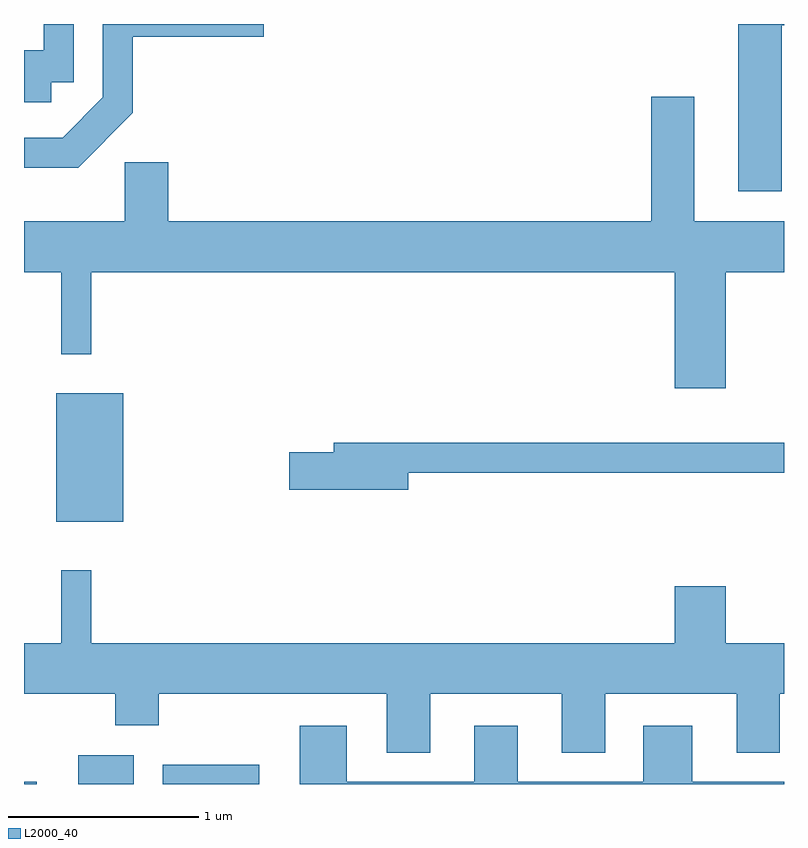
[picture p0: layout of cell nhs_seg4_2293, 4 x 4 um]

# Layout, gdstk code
import gdstk
lib = gdstk.Library(unit=1e-6, precision=1e-09)
def R(c, l, rs):  # rectangles x0, y0, x1, y1
    for r in rs: c.add(gdstk.rectangle(r[:2], r[2:], *l))
def P(c, l, *ps):  # polygons
    for p in ps: c.add(gdstk.Polygon(p, *l))
L2000_40 = (2000, 40)

nhs_seg4_2293 = lib.new_cell('nhs_seg4_2293')
R(nhs_seg4_2293, L2000_40, [(251.611,1351.982,251.679,1351.993), (251.896,1351.982,252.189,1352.134), (252.341,1351.982,252.848,1352.084), (251.781,1353.361,252.134,1354.039)])
P(nhs_seg4_2293, L2000_40, [(251.754,1355.676),(251.874,1355.676),(251.874,1355.982),(251.716,1355.982),(251.716,1355.844),(251.611,1355.844),(251.611,1355.571),(251.754,1355.571)],
  [(255.599,1355.976),(255.611,1355.976),(255.611,1355.982),(255.371,1355.982),(255.371,1355.101),(255.599,1355.101)],
  [(252.184,1355.514),(252.184,1355.916),(252.874,1355.916),(252.874,1355.982),(252.026,1355.982),(252.026,1355.597),(251.814,1355.384),(251.611,1355.384),(251.611,1355.226),(251.897,1355.226)],
  [(255.304,1354.676),(255.611,1354.676),(255.611,1354.944),(255.139,1354.944),(255.139,1355.599),(254.911,1355.599),(254.911,1354.944),(252.369,1354.944),(252.369,1355.254),(252.141,1355.254),(252.141,1354.944),(251.611,1354.944),(251.611,1354.676),(251.806,1354.676),(251.806,1354.243),(251.964,1354.243),(251.964,1354.676),(255.036,1354.676),(255.036,1354.066),(255.304,1354.066)],
  [(253.634,1353.621),(255.611,1353.621),(255.611,1353.779),(253.241,1353.779),(253.241,1353.729),(253.006,1353.729),(253.006,1353.531),(253.634,1353.531)],
  [(253.749,1352.456),(254.441,1352.456),(254.441,1352.146),(254.669,1352.146),(254.669,1352.456),(255.361,1352.456),(255.361,1352.146),(255.589,1352.146),(255.589,1352.456),(255.611,1352.456),(255.611,1352.724),(255.304,1352.724),(255.304,1353.024),(255.036,1353.024),(255.036,1352.724),(251.964,1352.724),(251.964,1353.108),(251.806,1353.108),(251.806,1352.724),(251.611,1352.724),(251.611,1352.456),(252.091,1352.456),(252.091,1352.291),(252.319,1352.291),(252.319,1352.456),(253.521,1352.456),(253.521,1352.146),(253.749,1352.146)],
  [(255.611,1351.994),(255.129,1351.994),(255.129,1352.289),(254.871,1352.289),(254.871,1351.994),(254.209,1351.994),(254.209,1352.289),(253.981,1352.289),(253.981,1351.994),(253.309,1351.994),(253.309,1352.289),(253.061,1352.289),(253.061,1351.982),(255.611,1351.982)])

lib.write_gds('nhs_seg4_2293.gds')
